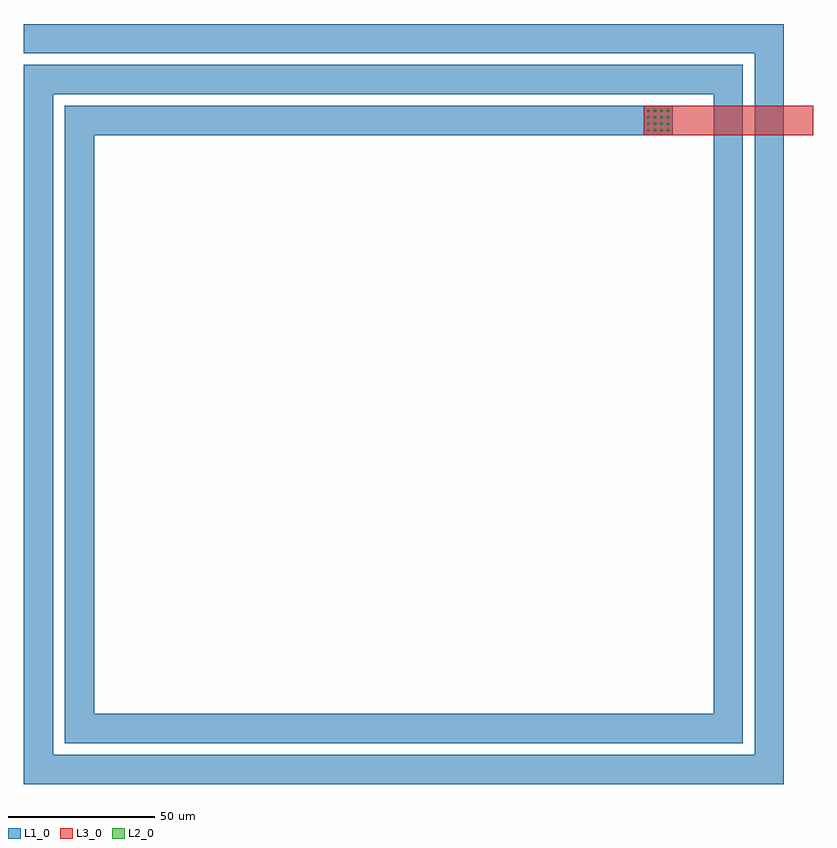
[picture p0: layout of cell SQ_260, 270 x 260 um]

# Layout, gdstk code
import gdstk
lib = gdstk.Library(unit=1e-6, precision=1e-09)
def R(c, l, rs):  # rectangles x0, y0, x1, y1
    for r in rs: c.add(gdstk.rectangle(r[:2], r[2:], *l))
def A(c, l, x, y, w, h, nx, ny, dx, dy):  # array of equal rectangles
    R(c, l, [(x+i*dx, y+j*dy, x+i*dx+w, y+j*dy+h) for i in range(nx) for j in range(ny)])
def P(c, l, *ps):  # polygons
    for p in ps: c.add(gdstk.Polygon(p, *l))
L1_0 = (1, 0)
L2_0 = (2, 0)
L3_0 = (3, 0)

sq_260 = lib.new_cell('SQ_260')
R(sq_260, L1_0, [(312,342,322,352)])
P(sq_260, L1_0, [(100,370),(100,380),(360,380),(350,370)],
  [(360,120),(350,130),(350,370),(360,380)],
  [(100,120),(110,130),(350,130),(360,120)],
  [(100,120),(100,366),(110,356),(110,130)],
  [(110,356),(100,366),(346,366),(336,356)],
  [(346,134),(336,144),(336,356),(346,366)],
  [(114,134),(124,144),(336,144),(346,134)],
  [(114,134),(114,352),(124,342),(124,144)],
  [(124,342),(114,352),(322,352),(322,342)])
A(sq_260, L2_0, 313.25, 343.25, 0.75, 0.75, 4, 4, 2.25, 2.25)
R(sq_260, L3_0, [(312,342,370,352), (312,342,322,352)])

lib.write_gds('SQ_260.gds')
